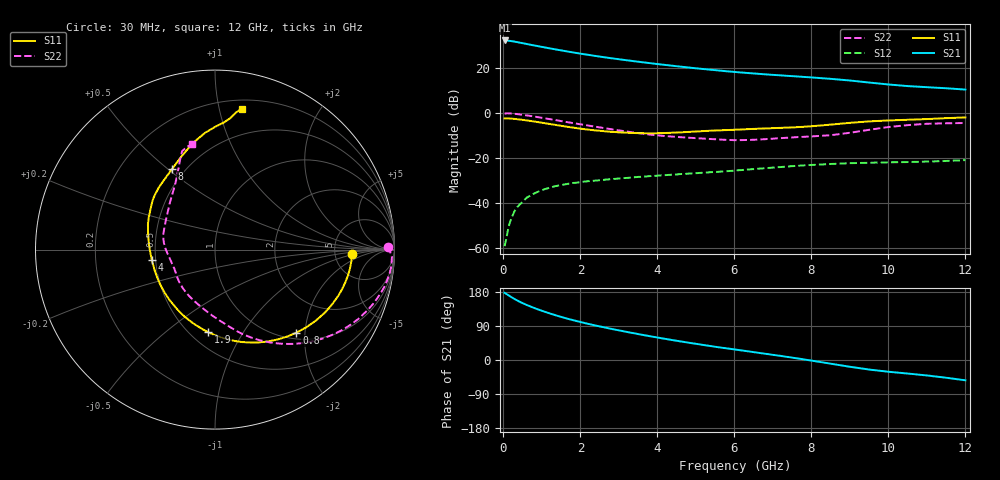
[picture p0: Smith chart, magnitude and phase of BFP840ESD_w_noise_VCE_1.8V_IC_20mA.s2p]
! Infineon Technologies  Discrete & RF Semiconductors
! BFP840ESD
! VCE =  1.8 V,  IC =  20 mA
! Common Emitter S-Parameters:  May 2012
# GHz  S  MA  R  50
!  f  S11  S21  S12  S22
! GHz  MAG  ANG  MAG  ANG  MAG  ANG  MAG  ANG
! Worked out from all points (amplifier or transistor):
!   93 points, 30 MHz to 12 GHz, reference 50 ohm
!   highest |S21| = 32.3 dB at 30 MHz (marker M1)
!   |S21| within 3 dB of that: start of sweep to 1.041 GHz
!   unconditionally stable (mu >= 1): 4.908 GHz to 8.266 GHz
!   at 1.1 GHz: K = 0.40, MSG = 31.4 dB, |S12| = -33.7 dB
!   at 4.2 GHz: K = 0.94, MSG = 24.5 dB, |S12| = -27.6 dB
!   at 12 GHz: K = 0.74, MSG = 15.7 dB, |S12| = -20.9 dB
!   lowest NFmin = 1.16 dB at 450 MHz
!   S11 on the Smith chart (normalised r, x): 30 MHz: 7.35, -0.80; 800 MHz: 1.13, -1.81; 1.9 GHz: 0.61, -0.72; 4 GHz: 0.48, -0.06; 8 GHz: 0.43, +0.52; 12 GHz: 0.27, +1.17
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0.03  0.7629 -1.7  41.06 177.3  0.0011 92.6  0.966 1.0
0.13  0.7592 -8.2  40.57 170.8  0.0029 89.3  0.9867 -5.4
0.23  0.7482 -14.3  39.44 164.4  0.0051 84.2  0.9735 -10.5
0.38  0.7257 -23.1  37.33 155.9  0.0085 75.8  0.9415 -17.1
0.6  0.6872 -35.2  34.27 145.4  0.0131 70.0  0.888 -25.7
0.8  0.6482 -45.6  31.8 137.2  0.0163 64.2  0.8362 -32.6
1  0.6093 -55.4  29.51 129.8  0.0193 60.1  0.784 -38.9
1.3  0.5536 -69.2  26.48 119.8  0.0232 54.4  0.7088 -47.4
1.6  0.5041 -82.2  23.88 110.8  0.026 50.0  0.6408 -54.9
1.9  0.4625 -94.5  21.61 102.7  0.0283 46.5  0.5806 -61.6
2.1  0.4387 -102.3  20.29 97.8  0.03 44.3  0.5452 -65.8
2.5  0.4036 -117.4  18 88.6  0.0322 41.3  0.4803 -73.7
2.9  0.3783 -132.2  16.12 80.1  0.0345 39.1  0.4241 -81.4
3.5  0.3579 -153.4  13.85 68.4  0.0381 36.5  0.3588 -94.5
4  0.3564 -170.5  12.29 59.3  0.0405 34.4  0.3201 -106.9
4.1  0.3578 -173.7  12 57.5  0.0413 34.3  0.3137 -109.6
5.1  0.3934 161.6  9.695 41.1  0.0467 30.7  0.2738 -134.2
6.1  0.4285 146.2  8.065 26.5  0.0535 28.2  0.2507 -157.3
8  0.5089 118.0  6.193 -1.6  0.0702 16.9  0.3025 161.1
8.5  0.553 109.6  5.758 -9.7  0.0738 12.8  0.3218 147.7
10.5  0.7093 86.1  3.978 -35.7  0.0815 -2.3  0.5391 111.1
12  0.7996 79.3  3.325 -53.6  0.0899 -9.8  0.6011 102.4
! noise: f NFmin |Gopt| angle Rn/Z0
0.45  1.16  0.06  2  0.13
0.9  1.17  0.03  -10  0.13
1.5  1.18  0.03  -24  0.12
1.9  1.18  0.02  -48  0.12
2.4  1.19  0.03  -94  0.11
3.5  1.19  0.07  -118  0.11
5.5  1.23  0.15  -118  0.13
8  1.32  0.31  -109  0.16
10  1.41  0.53  -77  0.26
12  1.58  0.66  -65  0.36
